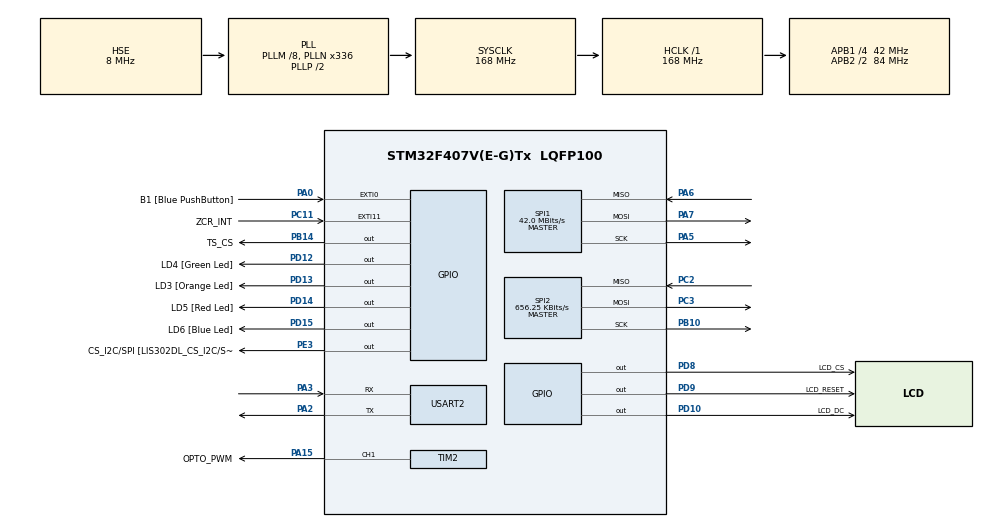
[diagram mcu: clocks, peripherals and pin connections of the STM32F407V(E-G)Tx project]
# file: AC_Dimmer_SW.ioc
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Mcu.Family=STM32F4
Mcu.Name=STM32F407V(E-G)Tx
Mcu.Package=LQFP100
NVIC.EXTI0_IRQn=true\:0\:0\:false\:false\:true\:true\:true\:true
NVIC.EXTI15_10_IRQn=true\:0\:0\:false\:false\:true\:true\:true\:true
NVIC.PriorityGroup=NVIC_PRIORITYGROUP_0
PA0-WKUP.GPIO_Label=B1 [Blue PushButton]
PA0-WKUP.GPIO_ModeDefaultEXTI=GPIO_MODE_IT_RISING
PA0-WKUP.GPIO_PuPd=GPIO_PULLDOWN
PA0-WKUP.Signal=GPXTI0
PA13.GPIO_Label=SWDIO
PA13.Mode=Serial_Wire
PA13.Signal=SYS_JTMS-SWDIO
PA14.GPIO_Label=SWCLK
PA14.Mode=Serial_Wire
PA14.Signal=SYS_JTCK-SWCLK
PA15.GPIO_Label=OPTO_PWM
PA15.Signal=S_TIM2_CH1_ETR
PA2.Mode=Asynchronous
PA2.Signal=USART2_TX
PA3.Mode=Asynchronous
PA3.Signal=USART2_RX
PA5.Mode=Full_Duplex_Master
PA5.Signal=SPI1_SCK
PA6.Mode=Full_Duplex_Master
PA6.Signal=SPI1_MISO
PA7.Mode=Full_Duplex_Master
PA7.Signal=SPI1_MOSI
PB10.Mode=Full_Duplex_Master
PB10.Signal=SPI2_SCK
PB14.GPIO_Label=TS_CS
PB14.Signal=GPIO_Output
PB3.GPIO_Label=SWO
PB3.Signal=SYS_JTDO-SWO
PC11.GPIO_Label=ZCR_INT
PC11.GPIO_PuPd=GPIO_PULLDOWN
PC11.Signal=GPXTI11
PC14-OSC32_IN.GPIO_Label=PC14-OSC32_IN
PC14-OSC32_IN.Mode=LSE-External-Oscillator
PC14-OSC32_IN.Signal=RCC_OSC32_IN
PC15-OSC32_OUT.GPIO_Label=PC15-OSC32_OUT
PC15-OSC32_OUT.Mode=LSE-External-Oscillator
PC15-OSC32_OUT.Signal=RCC_OSC32_OUT
PC2.Mode=Full_Duplex_Master
PC2.Signal=SPI2_MISO
PC3.Mode=Full_Duplex_Master
PC3.Signal=SPI2_MOSI
PC7.GPIO_Label=I2S3_MCK [CS43L22_MCLK]
PC7.GPIO_Mode=GPIO_MODE_AF_PP
PC7.GPIO_PuPd=GPIO_NOPULL
PC7.GPIO_Speed=GPIO_SPEED_FREQ_LOW
PC7.Signal=I2S3_MCK
PD10.GPIO_Label=LCD_DC
PD10.Signal=GPIO_Output
PD12.GPIO_Label=LD4 [Green Led]
PD12.GPIO_PuPd=GPIO_NOPULL
PD12.GPIO_Speed=GPIO_SPEED_FREQ_LOW
PD12.Signal=GPIO_Output
PD13.GPIO_Label=LD3 [Orange Led]
PD13.GPIO_PuPd=GPIO_NOPULL
PD13.GPIO_Speed=GPIO_SPEED_FREQ_LOW
PD13.Signal=GPIO_Output
PD14.GPIO_Label=LD5 [Red Led]
PD14.GPIO_PuPd=GPIO_NOPULL
PD14.GPIO_Speed=GPIO_SPEED_FREQ_LOW
PD14.Signal=GPIO_Output
PD15.GPIO_Label=LD6 [Blue Led]
PD15.GPIO_PuPd=GPIO_NOPULL
PD15.GPIO_Speed=GPIO_SPEED_FREQ_LOW
PD15.Signal=GPIO_Output
PD8.GPIO_Label=LCD_CS
PD8.Signal=GPIO_Output
PD9.GPIO_Label=LCD_RESET
PD9.Signal=GPIO_Output
PE3.GPIO_Label=CS_I2C/SPI [LIS302DL_CS_I2C/SPI]
PE3.GPIO_PuPd=GPIO_NOPULL
PE3.GPIO_Speed=GPIO_SPEED_FREQ_LOW
PE3.Signal=GPIO_Output
PH0-OSC_IN.GPIO_Label=PH0-OSC_IN
PH0-OSC_IN.Mode=HSE-External-Oscillator
PH0-OSC_IN.Signal=RCC_OSC_IN
PH1-OSC_OUT.GPIO_Label=PH1-OSC_OUT
PH1-OSC_OUT.Mode=HSE-External-Oscillator
PH1-OSC_OUT.Signal=RCC_OSC_OUT
ProjectManager.HeapSize=0x200
ProjectManager.StackSize=0x400
ProjectManager.TargetToolchain=TrueSTUDIO
RCC.48MHZClocksFreq_Value=48000000
RCC.AHBFreq_Value=168000000
RCC.APB1CLKDivider=RCC_HCLK_DIV4
RCC.APB1Freq_Value=42000000
RCC.APB1TimFreq_Value=84000000
RCC.APB2CLKDivider=RCC_HCLK_DIV2
RCC.APB2Freq_Value=84000000
RCC.APB2TimFreq_Value=168000000
RCC.CortexFreq_Value=168000000
RCC.HCLKFreq_Value=168000000
RCC.HSE_VALUE=8000000
RCC.HSI_VALUE=16000000
RCC.PLLM=8
RCC.PLLN=336
RCC.PLLQ=7
RCC.PLLSourceVirtual=RCC_PLLSOURCE_HSE
RCC.SYSCLKFreq_VALUE=168000000
RCC.SYSCLKSource=RCC_SYSCLKSOURCE_PLLCLK
RCC.VCOOutputFreq_Value=336000000
SH.S_TIM2_CH1_ETR.0=TIM2_CH1,PWM Generation1 CH1
SPI1.CalculateBaudRate=42.0 MBits/s
SPI1.Direction=SPI_DIRECTION_2LINES
SPI1.Mode=SPI_MODE_MASTER
SPI1.VirtualType=VM_MASTER
SPI2.BaudRatePrescaler=SPI_BAUDRATEPRESCALER_64
SPI2.CalculateBaudRate=656.25 KBits/s
SPI2.Direction=SPI_DIRECTION_2LINES
SPI2.Mode=SPI_MODE_MASTER
SPI2.VirtualType=VM_MASTER
TIM2.Channel-PWM\ Generation1\ CH1=TIM_CHANNEL_1
TIM2.Period=100
TIM2.Prescaler=14000
USART2.VirtualMode=VM_ASYNC
VP_TIM2_VS_ClockSourceINT.Mode=Internal
board=STM32F407G-DISC1

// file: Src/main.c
/* USER CODE BEGIN Header */
/**
  ******************************************************************************
  * @file           : main.c
  * @brief          : Main program body
  ******************************************************************************
  * @attention
  *
  * Copyright (c) 2022 STMicroelectronics.
  * All rights reserved.
  *
  * This software is licensed under terms that can be found in the LICENSE file
  * in the root directory of this software component.
  * If no LICENSE file comes with this software, it is provided AS-IS.
  *
  ******************************************************************************
  */
/* USER CODE END Header */
#include "main.h"

/* USER CODE BEGIN Includes */
#include <stdbool.h>
#include <stdio.h>
#include "retarget.h"

#include "MY_ILI9341.h"
#include "TSC2046.h"
/* USER CODE END Includes */

/* USER CODE BEGIN PM */
#define TOUCH_CTRL		0
/* USER CODE END PM */

 SPI_HandleTypeDef hspi1;
SPI_HandleTypeDef hspi2;

TIM_HandleTypeDef htim2;

UART_HandleTypeDef huart2;

void SystemClock_Config(void);
static void MX_GPIO_Init(void);
static void MX_SPI1_Init(void);
static void MX_TIM2_Init(void);
static void MX_USART2_UART_Init(void);
static void MX_SPI2_Init(void);
/* USER CODE BEGIN PFP */
#define PUTCHAR_PROTOTYPE int __io_putchar(int ch)
#define GETCHAR_PRPTOTYPE int __io_getchar(void)
/* USER CODE END PFP */

/* USER CODE BEGIN 0 */
volatile bool f_StartPWM = false;
volatile bool f_ChangePWM = false;
static int DutyCycle = 0;				//Duty cycle default set to 100
uint8_t set_dutycycle = 0;
uint8_t backupDutyCycle = 0;

TS_TOUCH_DATA_Def myTS_Handle;
/* USER CODE END 0 */

int main(void)
{

  /* MCU Configuration--------------------------------------------------------*/

  /* Reset of all peripherals, Initializes the Flash interface and the Systick. */
  HAL_Init();

  /* Configure the system clock */
  SystemClock_Config();

  /* Initialize all configured peripherals */
  MX_GPIO_Init();
  MX_SPI1_Init();
  MX_TIM2_Init();
  MX_USART2_UART_Init();
  MX_SPI2_Init();
  /* USER CODE BEGIN 2 */
  RetargetInit(&huart2);
  printf("Starting at 0%% duty cycle by default\r\n");
  HAL_TIM_PWM_Start(&htim2, TIM_CHANNEL_1);
  TIM2->CCR1 = DutyCycle;

#if (TOUCH_CTRL == 1)
  /** Touch and LCD code below **/
	uint8_t dutycycle = 0;
	char str[10];
	uint8_t sw = 0;

	ILI9341_Init(&hspi1, LCD_CS_GPIO_Port, LCD_CS_Pin, LCD_DC_GPIO_Port, LCD_DC_Pin, LCD_RESET_GPIO_Port, LCD_RESET_Pin);
	ILI9341_setRotation(2);
	ILI9341_Fill(COLOR_YELLOW);

	TSC2046_Begin(&hspi2, TS_CS_GPIO_Port, TS_CS_Pin);
	TSC2046_Calibrate();
	ILI9341_Fill(COLOR_NAVY);

	ILI9341_printText("INTENSITY CONTROL", 10, 10, COLOR_RED, COLOR_NAVY, 3);

	ILI9341_Fill_Rect(40, 60, 110 ,130, COLOR_WHITE );	//up button white
	ILI9341_Fill_Rect(45, 65, 105 ,125, COLOR_BLACK );	//up button black

	ILI9341_Fill_Rect(200, 60, 270 ,130, COLOR_WHITE );	//down button white
	ILI9341_Fill_Rect(205, 65, 265 ,125, COLOR_BLACK );	//down button black

	//ILI9341_drawTriangle(75, 80, 65, 100, 85, 100, COLOR_RED);
	ILI9341_fillTriangle(75, 80, 65, 100, 85, 100, COLOR_RED); //up button triangle
	ILI9341_fillTriangle(225, 80, 245, 80, 235, 100, COLOR_RED); //down button triangle

	ILI9341_Fill_Rect(10, 180, 110, 230, COLOR_BLACK); //on-off button
	ILI9341_Fill_Rect(180, 180, 310, 230, COLOR_BLACK); //set duty cycle button

	ILI9341_printText("UP", 65, 140, COLOR_RED, COLOR_NAVY, 2);
	ILI9341_printText("DOWN", 215, 140, COLOR_RED, COLOR_NAVY, 2);

	ILI9341_printText("DUTY", 130, 70, COLOR_RED, COLOR_NAVY, 2);
	ILI9341_printText("CYCLE", 125, 95, COLOR_RED, COLOR_NAVY, 2);

	ILI9341_printText("ON/OFF", 25, 200, COLOR_WHITE, COLOR_BLACK, 2);
	//ILI9341_printText("OFF", 25, 200, COLOR_WHITE, COLOR_BLACK, 2);
	ILI9341_printText("SET", 230, 185, COLOR_WHITE, COLOR_BLACK, 2);
	ILI9341_printText("DUTY CYCLE", 185, 205, COLOR_WHITE, COLOR_BLACK, 2);

	sprintf(str, " %d ", dutycycle);
	ILI9341_printText(str, 120, 140, COLOR_RED, COLOR_NAVY, 4);
#endif

  /* USER CODE END 2 */

  /* Infinite loop */
  while (1)
  {

    /* USER CODE BEGIN 3 */
    /** LCD and Touch control code STARTS **/
#if (TOUCH_CTRL == 1)
    myTS_Handle = TSC2046_GetTouchData();
	  if(myTS_Handle.isPressed)
	  {
		  //UP button
		  if(myTS_Handle.X >=40 && myTS_Handle.X<=110 && myTS_Handle.Y>=60 && myTS_Handle.Y<=130)
		  {
			  if((sw % 2)!=0)
			  {
				  if(dutycycle == 100)
				  {
					  continue;
				  }
				  else
				  {
					  dutycycle += 10;
					  sprintf(str, " %d ", dutycycle);
					  if(dutycycle == 100)
					  {
						  ILI9341_printText(str, 95, 140, COLOR_RED, COLOR_NAVY, 4);
						  ILI9341_printText("DOWN", 215, 140, COLOR_RED, COLOR_NAVY, 2);
					  }
					  else if(dutycycle > 0 || dutycycle < 100 )
					  {
						  ILI9341_printText(str, 110, 140, COLOR_RED, COLOR_NAVY, 4);
						  ILI9341_printText("DOWN", 215, 140, COLOR_RED, COLOR_NAVY, 2);
					  }
					  else
					  {
						  ILI9341_printText(str, 120, 140, COLOR_RED, COLOR_NAVY, 4);
						  ILI9341_printText("DOWN", 215, 140, COLOR_RED, COLOR_NAVY, 2);
					  }
				  }
			  }
		  }
		  //DOWN button
		  if(myTS_Handle.X >=200 && myTS_Handle.X<=270 && myTS_Handle.Y>=60 && myTS_Handle.Y<=130)
		  {
			  if(dutycycle == 0)
			  {
				  continue;
			  }
			  else
			  {
				  dutycycle -= 10;
				  sprintf(str, " %d ", dutycycle);
				  if(dutycycle == 0)
				  {
					  ILI9341_printText(str, 120, 140, COLOR_RED, COLOR_NAVY, 4);
					  ILI9341_printText("DOWN", 215, 140, COLOR_RED, COLOR_NAVY, 2);
				  }
				  else if(dutycycle > 0 || dutycycle < 100 )
				  {
					  ILI9341_printText(str, 110, 140, COLOR_RED, COLOR_NAVY, 4);
					  ILI9341_printText("DOWN", 215, 140, COLOR_RED, COLOR_NAVY, 2);
				  }
				  else
				  {
					  ILI9341_printText(str, 95, 140, COLOR_RED, COLOR_NAVY, 4);
					  ILI9341_printText("DOWN", 215, 140, COLOR_RED, COLOR_NAVY, 2);
				  }
			  }
		  }

		  //ON/OFF button
		  if(myTS_Handle.X >=10 && myTS_Handle.X<=110 && myTS_Handle.Y>=180 && myTS_Handle.Y<=230)
		  {
			  sw++;

			  if((sw % 2) != 0)
			  {
				  set_dutycycle = backupDutyCycle;
				  dutycycle = set_dutycycle;
				  sprintf(str, " %d ", dutycycle);
				  ILI9341_printText(str, 110, 140, COLOR_RED, COLOR_NAVY, 4);
				  ILI9341_printText("DOWN", 215, 140, COLOR_RED, COLOR_NAVY, 2);
				  ILI9341_Fill_Rect(10, 180, 110, 230, COLOR_WHITE);
				  ILI9341_printText("ON", 45, 200, COLOR_BLACK, COLOR_WHITE, 2);
			  }
			  else
			  {
				  backupDutyCycle = set_dutycycle;
				  dutycycle = 0;
				  set_dutycycle = 0;
				  sprintf(str, " %d ", dutycycle);
				  ILI9341_printText(str, 120, 140, COLOR_RED, COLOR_NAVY, 4);
				  ILI9341_printText("DOWN", 215, 140, COLOR_RED, COLOR_NAVY, 2);
				  ILI9341_Fill_Rect(10, 180, 110, 230, COLOR_BLACK);
				  ILI9341_printText("OFF", 40, 200, COLOR_WHITE, COLOR_BLACK, 2);
			  }
		  }

		  //set dutycycle button
		  if(myTS_Handle.X >=180 && myTS_Handle.X<=310 && myTS_Handle.Y>=180 && myTS_Handle.Y<=230)
		  {
			  set_dutycycle = dutycycle; //use set_dutycycle further
			  printf("Duty Cycle: %d\r\n", set_dutycycle);
		  }
	  }

	/** TRIAC Control code STARTS **/
#else
	if(f_ChangePWM){
		//Handling PWM change on USR button press
		f_ChangePWM = false;
		printf("Enter New Duty Cycle\r\n");
		while(1){
			scanf("%d", &DutyCycle);
			if((DutyCycle >= 0) && (DutyCycle <= 100)){
				set_dutycycle = DutyCycle;
				printf("%d\r\n", DutyCycle);
				break;
			}
			else{
				printf("Enter Duty Cycle value between 0 to 100. \r\n Try Again\r\n");
			}
		}
	}
#endif
	if(f_StartPWM){										//ZCD interrupt handling
		f_StartPWM = false;
		//Code to start PWM based on Received input value
//    	HAL_TIM_PWM_Start(&htim2, TIM_CHANNEL_1);
//    	TIM2->CCR1 = DutyCycle;
		HAL_GPIO_TogglePin(GPIOD, LD3_Pin);
	}
	/** TRIAC Control code ENDS **/
  }
  /* USER CODE END 3 */
}

void SystemClock_Config(void)
{
  RCC_OscInitTypeDef RCC_OscInitStruct = {0};
  RCC_ClkInitTypeDef RCC_ClkInitStruct = {0};

  /** Configure the main internal regulator output voltage
  */
  __HAL_RCC_PWR_CLK_ENABLE();
  __HAL_PWR_VOLTAGESCALING_CONFIG(PWR_REGULATOR_VOLTAGE_SCALE1);

  /** Initializes the RCC Oscillators according to the specified parameters
  * in the RCC_OscInitTypeDef structure.
  */
  RCC_OscInitStruct.OscillatorType = RCC_OSCILLATORTYPE_HSE;
  RCC_OscInitStruct.HSEState = RCC_HSE_ON;
  RCC_OscInitStruct.PLL.PLLState = RCC_PLL_ON;
  RCC_OscInitStruct.PLL.PLLSource = RCC_PLLSOURCE_HSE;
  RCC_OscInitStruct.PLL.PLLM = 8;
  RCC_OscInitStruct.PLL.PLLN = 336;
  RCC_OscInitStruct.PLL.PLLP = RCC_PLLP_DIV2;
  RCC_OscInitStruct.PLL.PLLQ = 7;
  if (HAL_RCC_OscConfig(&RCC_OscInitStruct) != HAL_OK)
  {
    Error_Handler();
  }

  /** Initializes the CPU, AHB and APB buses clocks
  */
  RCC_ClkInitStruct.ClockType = RCC_CLOCKTYPE_HCLK|RCC_CLOCKTYPE_SYSCLK
                              |RCC_CLOCKTYPE_PCLK1|RCC_CLOCKTYPE_PCLK2;
  RCC_ClkInitStruct.SYSCLKSource = RCC_SYSCLKSOURCE_PLLCLK;
  RCC_ClkInitStruct.AHBCLKDivider = RCC_SYSCLK_DIV1;
  RCC_ClkInitStruct.APB1CLKDivider = RCC_HCLK_DIV4;
  RCC_ClkInitStruct.APB2CLKDivider = RCC_HCLK_DIV2;

  if (HAL_RCC_ClockConfig(&RCC_ClkInitStruct, FLASH_LATENCY_5) != HAL_OK)
  {
    Error_Handler();
  }
}

static void MX_SPI1_Init(void)
{

  /* SPI1 parameter configuration*/
  hspi1.Instance = SPI1;
  hspi1.Init.Mode = SPI_MODE_MASTER;
  hspi1.Init.Direction = SPI_DIRECTION_2LINES;
  hspi1.Init.DataSize = SPI_DATASIZE_8BIT;
  hspi1.Init.CLKPolarity = SPI_POLARITY_LOW;
  hspi1.Init.CLKPhase = SPI_PHASE_1EDGE;
  hspi1.Init.NSS = SPI_NSS_SOFT;
  hspi1.Init.BaudRatePrescaler = SPI_BAUDRATEPRESCALER_4;
  hspi1.Init.FirstBit = SPI_FIRSTBIT_MSB;
  hspi1.Init.TIMode = SPI_TIMODE_DISABLE;
  hspi1.Init.CRCCalculation = SPI_CRCCALCULATION_DISABLE;
  hspi1.Init.CRCPolynomial = 10;
  if (HAL_SPI_Init(&hspi1) != HAL_OK)
  {
    Error_Handler();
  }

}

static void MX_SPI2_Init(void)
{

  /* SPI2 parameter configuration*/
  hspi2.Instance = SPI2;
  hspi2.Init.Mode = SPI_MODE_MASTER;
  hspi2.Init.Direction = SPI_DIRECTION_2LINES;
  hspi2.Init.DataSize = SPI_DATASIZE_8BIT;
  hspi2.Init.CLKPolarity = SPI_POLARITY_LOW;
  hspi2.Init.CLKPhase = SPI_PHASE_1EDGE;
  hspi2.Init.NSS = SPI_NSS_SOFT;
  hspi2.Init.BaudRatePrescaler = SPI_BAUDRATEPRESCALER_256;
  hspi2.Init.FirstBit = SPI_FIRSTBIT_MSB;
  hspi2.Init.TIMode = SPI_TIMODE_DISABLE;
  hspi2.Init.CRCCalculation = SPI_CRCCALCULATION_DISABLE;
  hspi2.Init.CRCPolynomial = 10;
  if (HAL_SPI_Init(&hspi2) != HAL_OK)
  {
    Error_Handler();
  }

}

static void MX_TIM2_Init(void)
{

  TIM_ClockConfigTypeDef sClockSourceConfig = {0};
  TIM_MasterConfigTypeDef sMasterConfig = {0};
  TIM_OC_InitTypeDef sConfigOC = {0};

  htim2.Instance = TIM2;
  htim2.Init.Prescaler = 14000;
  htim2.Init.CounterMode = TIM_COUNTERMODE_UP;
  htim2.Init.Period = 100;
  htim2.Init.ClockDivision = TIM_CLOCKDIVISION_DIV1;
  htim2.Init.AutoReloadPreload = TIM_AUTORELOAD_PRELOAD_DISABLE;
  if (HAL_TIM_Base_Init(&htim2) != HAL_OK)
  {
    Error_Handler();
  }
  sClockSourceConfig.ClockSource = TIM_CLOCKSOURCE_INTERNAL;
  if (HAL_TIM_ConfigClockSource(&htim2, &sClockSourceConfig) != HAL_OK)
  {
    Error_Handler();
  }
  if (HAL_TIM_PWM_Init(&htim2) != HAL_OK)
  {
    Error_Handler();
  }
  sMasterConfig.MasterOutputTrigger = TIM_TRGO_RESET;
  sMasterConfig.MasterSlaveMode = TIM_MASTERSLAVEMODE_DISABLE;
  if (HAL_TIMEx_MasterConfigSynchronization(&htim2, &sMasterConfig) != HAL_OK)
  {
    Error_Handler();
  }
  sConfigOC.OCMode = TIM_OCMODE_PWM1;
  sConfigOC.Pulse = 0;
  sConfigOC.OCPolarity = TIM_OCPOLARITY_HIGH;
  sConfigOC.OCFastMode = TIM_OCFAST_DISABLE;
  if (HAL_TIM_PWM_ConfigChannel(&htim2, &sConfigOC, TIM_CHANNEL_1) != HAL_OK)
  {
    Error_Handler();
  }
  HAL_TIM_MspPostInit(&htim2);

}

static void MX_USART2_UART_Init(void)
{

  huart2.Instance = USART2;
  huart2.Init.BaudRate = 115200;
  huart2.Init.WordLength = UART_WORDLENGTH_8B;
  huart2.Init.StopBits = UART_STOPBITS_1;
  huart2.Init.Parity = UART_PARITY_NONE;
  huart2.Init.Mode = UART_MODE_TX_RX;
  huart2.Init.HwFlowCtl = UART_HWCONTROL_NONE;
  huart2.Init.OverSampling = UART_OVERSAMPLING_16;
  if (HAL_UART_Init(&huart2) != HAL_OK)
  {
    Error_Handler();
  }

}

static void MX_GPIO_Init(void)
{
  GPIO_InitTypeDef GPIO_InitStruct = {0};

  /* GPIO Ports Clock Enable */
  __HAL_RCC_GPIOE_CLK_ENABLE();
  __HAL_RCC_GPIOC_CLK_ENABLE();
  __HAL_RCC_GPIOH_CLK_ENABLE();
  __HAL_RCC_GPIOA_CLK_ENABLE();
  __HAL_RCC_GPIOB_CLK_ENABLE();
  __HAL_RCC_GPIOD_CLK_ENABLE();

  /*Configure GPIO pin Output Level */
  HAL_GPIO_WritePin(CS_I2C_SPI_GPIO_Port, CS_I2C_SPI_Pin, GPIO_PIN_RESET);

  /*Configure GPIO pin Output Level */
  HAL_GPIO_WritePin(TS_CS_GPIO_Port, TS_CS_Pin, GPIO_PIN_RESET);

  /*Configure GPIO pin Output Level */
  HAL_GPIO_WritePin(GPIOD, LCD_CS_Pin|LCD_RESET_Pin|LCD_DC_Pin|LD4_Pin
                          |LD3_Pin|LD5_Pin|LD6_Pin, GPIO_PIN_RESET);

  /*Configure GPIO pin : CS_I2C_SPI_Pin */
  GPIO_InitStruct.Pin = CS_I2C_SPI_Pin;
  GPIO_InitStruct.Mode = GPIO_MODE_OUTPUT_PP;
  GPIO_InitStruct.Pull = GPIO_NOPULL;
  GPIO_InitStruct.Speed = GPIO_SPEED_FREQ_LOW;
  HAL_GPIO_Init(CS_I2C_SPI_GPIO_Port, &GPIO_InitStruct);

  /*Configure GPIO pin : B1_Pin */
  GPIO_InitStruct.Pin = B1_Pin;
  GPIO_InitStruct.Mode = GPIO_MODE_IT_RISING;
  GPIO_InitStruct.Pull = GPIO_PULLDOWN;
  HAL_GPIO_Init(B1_GPIO_Port, &GPIO_InitStruct);

  /*Configure GPIO pin : TS_CS_Pin */
  GPIO_InitStruct.Pin = TS_CS_Pin;
  GPIO_InitStruct.Mode = GPIO_MODE_OUTPUT_PP;
  GPIO_InitStruct.Pull = GPIO_NOPULL;
  GPIO_InitStruct.Speed = GPIO_SPEED_FREQ_LOW;
  HAL_GPIO_Init(TS_CS_GPIO_Port, &GPIO_InitStruct);

  /*Configure GPIO pins : LCD_CS_Pin LCD_RESET_Pin LCD_DC_Pin LD4_Pin
                           LD3_Pin LD5_Pin LD6_Pin */
  GPIO_InitStruct.Pin = LCD_CS_Pin|LCD_RESET_Pin|LCD_DC_Pin|LD4_Pin
                          |LD3_Pin|LD5_Pin|LD6_Pin;
  GPIO_InitStruct.Mode = GPIO_MODE_OUTPUT_PP;
  GPIO_InitStruct.Pull = GPIO_NOPULL;
  GPIO_InitStruct.Speed = GPIO_SPEED_FREQ_LOW;
  HAL_GPIO_Init(GPIOD, &GPIO_InitStruct);

  /*Configure GPIO pin : I2S3_MCK_Pin */
  GPIO_InitStruct.Pin = I2S3_MCK_Pin;
  GPIO_InitStruct.Mode = GPIO_MODE_AF_PP;
  GPIO_InitStruct.Pull = GPIO_NOPULL;
  GPIO_InitStruct.Speed = GPIO_SPEED_FREQ_LOW;
  GPIO_InitStruct.Alternate = GPIO_AF6_SPI3;
  HAL_GPIO_Init(I2S3_MCK_GPIO_Port, &GPIO_InitStruct);

  /*Configure GPIO pin : ZCR_INT_Pin */
  GPIO_InitStruct.Pin = ZCR_INT_Pin;
  GPIO_InitStruct.Mode = GPIO_MODE_IT_RISING;
  GPIO_InitStruct.Pull = GPIO_PULLDOWN;
  HAL_GPIO_Init(ZCR_INT_GPIO_Port, &GPIO_InitStruct);

  /* EXTI interrupt init*/
  HAL_NVIC_SetPriority(EXTI0_IRQn, 0, 0);
  HAL_NVIC_EnableIRQ(EXTI0_IRQn);

  HAL_NVIC_SetPriority(EXTI15_10_IRQn, 0, 0);
  HAL_NVIC_EnableIRQ(EXTI15_10_IRQn);

}

/* USER CODE BEGIN 4 */
void HAL_GPIO_EXTI_Callback(uint16_t GPIO_Pin){
#if TOUCH_CTRL == 0
	if(GPIO_Pin == B1_Pin){
		f_ChangePWM = true;
	}
#endif
	if(GPIO_Pin == ZCR_INT_Pin){
		f_StartPWM = true;
		TIM2->CCR1 = set_dutycycle;
		HAL_TIM_PWM_Start(&htim2, TIM_CHANNEL_1);
		HAL_GPIO_TogglePin(GPIOD, LD6_Pin);
	}
}
/* USER CODE END 4 */

void Error_Handler(void)
{
  __disable_irq();
  while (1)
  {
  }
}
